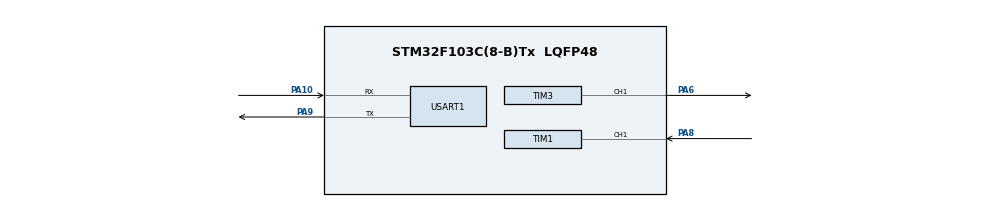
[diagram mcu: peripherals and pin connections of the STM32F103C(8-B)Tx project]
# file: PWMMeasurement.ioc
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Mcu.Family=STM32F1
Mcu.Name=STM32F103C(8-B)Tx
Mcu.Package=LQFP48
NVIC.PriorityGroup=NVIC_PRIORITYGROUP_4
PA10.Mode=Asynchronous
PA10.Signal=USART1_RX
PA13.Mode=Serial_Wire
PA13.Signal=SYS_JTMS-SWDIO
PA14.Mode=Serial_Wire
PA14.Signal=SYS_JTCK-SWCLK
PA6.Signal=S_TIM3_CH1
PA8.Signal=S_TIM1_CH1
PA9.Mode=Asynchronous
PA9.Signal=USART1_TX
ProjectManager.HeapSize=0x200
ProjectManager.StackSize=0x400
ProjectManager.TargetToolchain=MDK-ARM V5.32
RCC.APB1Freq_Value=8000000
RCC.APB2Freq_Value=8000000
SH.S_TIM1_CH1.0=TIM1_CH1,Input_Capture1_from_TI1
SH.S_TIM1_CH1.1=TIM1_CH1,TriggerSource_TI1FP1
SH.S_TIM3_CH1.0=TIM3_CH1,PWM Generation1 CH1
TIM1.AutoReloadPreload=TIM_AUTORELOAD_PRELOAD_ENABLE
TIM1.Channel-Input_Capture1_from_TI1=TIM_CHANNEL_1
TIM1.Channel-Input_Capture2_from_TI1_63=TIM_CHANNEL_2
TIM1.ICPolarity_CH2=TIM_INPUTCHANNELPOLARITY_FALLING
TIM1.Prescaler=7
TIM3.AutoReloadPreload=TIM_AUTORELOAD_PRELOAD_ENABLE
TIM3.Channel-PWM\ Generation1\ CH1=TIM_CHANNEL_1
TIM3.Period=999
TIM3.Prescaler=7
TIM3.Pulse-PWM\ Generation1\ CH1=200
USART1.VirtualMode=VM_ASYNC
VP_TIM1_VS_ClockSourceINT.Mode=Internal
VP_TIM1_VS_ControllerModeReset.Mode=Reset Mode
VP_TIM1_VS_indirect_ch1.Mode=Input_Capture2_from_TI1_63
VP_TIM3_VS_ClockSourceINT.Mode=Internal
board=custom

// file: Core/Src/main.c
/* USER CODE BEGIN Header */
/**
  ******************************************************************************
  * @file           : main.c
  * @brief          : Main program body
  ******************************************************************************
  * @attention
  *
  * Copyright (c) 2025 STMicroelectronics.
  * All rights reserved.
  *
  * This software is licensed under terms that can be found in the LICENSE file
  * in the root directory of this software component.
  * If no LICENSE file comes with this software, it is provided AS-IS.
  *
  ******************************************************************************
  */
/* USER CODE END Header */
#include "main.h"

TIM_HandleTypeDef htim1;
TIM_HandleTypeDef htim3;

UART_HandleTypeDef huart1;

void SystemClock_Config(void);
static void MX_GPIO_Init(void);
static void MX_USART1_UART_Init(void);
static void MX_TIM3_Init(void);
static void MX_TIM1_Init(void);

/* USER CODE BEGIN 0 */
#include <stdarg.h>
#include <stdio.h>
#include <string.h>

static void UART_Printf(const char *format, ...)
{
	char tmp[128];

	va_list argptr;
	va_start(argptr, format);
	vsprintf((char* )tmp, format, argptr);
	va_end(argptr);

	HAL_UART_Transmit(&huart1, (const uint8_t *)&tmp, strlen(tmp), HAL_MAX_DELAY);
}
/* USER CODE END 0 */

int main(void)
{

  /* MCU Configuration--------------------------------------------------------*/

  /* Reset of all peripherals, Initializes the Flash interface and the Systick. */
  HAL_Init();

  /* Configure the system clock */
  SystemClock_Config();

  /* Initialize all configured peripherals */
  MX_GPIO_Init();
  MX_USART1_UART_Init();
  MX_TIM3_Init();
  MX_TIM1_Init();

  /* Infinite loop */
  /* USER CODE BEGIN WHILE */
//  HAL_UART_Transmit(&huart1,(const uint8_t*)"你好世界",12,HAL_MAX_DELAY);
	HAL_TIM_PWM_Start(&htim3,TIM_CHANNEL_1);
  while (1)
  {
	  __HAL_TIM_CLEAR_FLAG(&htim1,TIM_FLAG_CC1);//清cc1标志位
	  HAL_TIM_IC_Start(&htim1,TIM_CHANNEL_1);
	  HAL_TIM_IC_Start(&htim1,TIM_CHANNEL_2);
	  //*等待cc1标志位并再次清除，测量开始，计数器启动
	  while(__HAL_TIM_GET_FLAG(&htim1,TIM_FLAG_CC1)==0)
	  __HAL_TIM_CLEAR_FLAG(&htim1,TIM_FLAG_CC1);

	  while(__HAL_TIM_GET_FLAG(&htim1,TIM_FLAG_CC1)==0)//等待

	  HAL_TIM_IC_Stop(&htim1,TIM_CHANNEL_1);
	  HAL_TIM_IC_Stop(&htim1,TIM_CHANNEL_2);

	uint16_t ccr1 = __HAL_TIM_GET_COMPARE(&htim1,TIM_CHANNEL_1);
	uint16_t ccr2 = __HAL_TIM_GET_COMPARE(&htim1,TIM_CHANNEL_2);

	float period = ccr1 *1e-6f;
	float pulseWidth =ccr2 *1e-6f;
	 float duty =pulseWidth/period;

	  UART_Printf("脉宽=%.1fus,周期=%.1fus,占空比=%.1f%%",pulseWidth*1e6f,period*1e6f,duty*100.0f);
	  HAL_Delay(500);
    /* USER CODE END WHILE */

  }
}

void SystemClock_Config(void)
{
  RCC_OscInitTypeDef RCC_OscInitStruct = {0};
  RCC_ClkInitTypeDef RCC_ClkInitStruct = {0};

  /** Initializes the RCC Oscillators according to the specified parameters
  * in the RCC_OscInitTypeDef structure.
  */
  RCC_OscInitStruct.OscillatorType = RCC_OSCILLATORTYPE_HSI;
  RCC_OscInitStruct.HSIState = RCC_HSI_ON;
  RCC_OscInitStruct.HSICalibrationValue = RCC_HSICALIBRATION_DEFAULT;
  RCC_OscInitStruct.PLL.PLLState = RCC_PLL_NONE;
  if (HAL_RCC_OscConfig(&RCC_OscInitStruct) != HAL_OK)
  {
    Error_Handler();
  }

  /** Initializes the CPU, AHB and APB buses clocks
  */
  RCC_ClkInitStruct.ClockType = RCC_CLOCKTYPE_HCLK|RCC_CLOCKTYPE_SYSCLK
                              |RCC_CLOCKTYPE_PCLK1|RCC_CLOCKTYPE_PCLK2;
  RCC_ClkInitStruct.SYSCLKSource = RCC_SYSCLKSOURCE_HSI;
  RCC_ClkInitStruct.AHBCLKDivider = RCC_SYSCLK_DIV1;
  RCC_ClkInitStruct.APB1CLKDivider = RCC_HCLK_DIV1;
  RCC_ClkInitStruct.APB2CLKDivider = RCC_HCLK_DIV1;

  if (HAL_RCC_ClockConfig(&RCC_ClkInitStruct, FLASH_LATENCY_0) != HAL_OK)
  {
    Error_Handler();
  }
}

static void MX_TIM1_Init(void)
{

  TIM_ClockConfigTypeDef sClockSourceConfig = {0};
  TIM_SlaveConfigTypeDef sSlaveConfig = {0};
  TIM_MasterConfigTypeDef sMasterConfig = {0};
  TIM_IC_InitTypeDef sConfigIC = {0};

  htim1.Instance = TIM1;
  htim1.Init.Prescaler = 7;
  htim1.Init.CounterMode = TIM_COUNTERMODE_UP;
  htim1.Init.Period = 65535;
  htim1.Init.ClockDivision = TIM_CLOCKDIVISION_DIV1;
  htim1.Init.RepetitionCounter = 0;
  htim1.Init.AutoReloadPreload = TIM_AUTORELOAD_PRELOAD_ENABLE;
  if (HAL_TIM_Base_Init(&htim1) != HAL_OK)
  {
    Error_Handler();
  }
  sClockSourceConfig.ClockSource = TIM_CLOCKSOURCE_INTERNAL;
  if (HAL_TIM_ConfigClockSource(&htim1, &sClockSourceConfig) != HAL_OK)
  {
    Error_Handler();
  }
  if (HAL_TIM_IC_Init(&htim1) != HAL_OK)
  {
    Error_Handler();
  }
  sSlaveConfig.SlaveMode = TIM_SLAVEMODE_RESET;
  sSlaveConfig.InputTrigger = TIM_TS_TI1FP1;
  sSlaveConfig.TriggerPolarity = TIM_INPUTCHANNELPOLARITY_RISING;
  sSlaveConfig.TriggerFilter = 0;
  if (HAL_TIM_SlaveConfigSynchro(&htim1, &sSlaveConfig) != HAL_OK)
  {
    Error_Handler();
  }
  sMasterConfig.MasterOutputTrigger = TIM_TRGO_RESET;
  sMasterConfig.MasterSlaveMode = TIM_MASTERSLAVEMODE_DISABLE;
  if (HAL_TIMEx_MasterConfigSynchronization(&htim1, &sMasterConfig) != HAL_OK)
  {
    Error_Handler();
  }
  sConfigIC.ICPolarity = TIM_INPUTCHANNELPOLARITY_RISING;
  sConfigIC.ICSelection = TIM_ICSELECTION_DIRECTTI;
  sConfigIC.ICPrescaler = TIM_ICPSC_DIV1;
  sConfigIC.ICFilter = 0;
  if (HAL_TIM_IC_ConfigChannel(&htim1, &sConfigIC, TIM_CHANNEL_1) != HAL_OK)
  {
    Error_Handler();
  }
  sConfigIC.ICPolarity = TIM_INPUTCHANNELPOLARITY_FALLING;
  sConfigIC.ICSelection = TIM_ICSELECTION_INDIRECTTI;
  if (HAL_TIM_IC_ConfigChannel(&htim1, &sConfigIC, TIM_CHANNEL_2) != HAL_OK)
  {
    Error_Handler();
  }

}

static void MX_TIM3_Init(void)
{

  TIM_ClockConfigTypeDef sClockSourceConfig = {0};
  TIM_MasterConfigTypeDef sMasterConfig = {0};
  TIM_OC_InitTypeDef sConfigOC = {0};

  htim3.Instance = TIM3;
  htim3.Init.Prescaler = 7;
  htim3.Init.CounterMode = TIM_COUNTERMODE_UP;
  htim3.Init.Period = 999;
  htim3.Init.ClockDivision = TIM_CLOCKDIVISION_DIV1;
  htim3.Init.AutoReloadPreload = TIM_AUTORELOAD_PRELOAD_ENABLE;
  if (HAL_TIM_Base_Init(&htim3) != HAL_OK)
  {
    Error_Handler();
  }
  sClockSourceConfig.ClockSource = TIM_CLOCKSOURCE_INTERNAL;
  if (HAL_TIM_ConfigClockSource(&htim3, &sClockSourceConfig) != HAL_OK)
  {
    Error_Handler();
  }
  if (HAL_TIM_PWM_Init(&htim3) != HAL_OK)
  {
    Error_Handler();
  }
  sMasterConfig.MasterOutputTrigger = TIM_TRGO_RESET;
  sMasterConfig.MasterSlaveMode = TIM_MASTERSLAVEMODE_DISABLE;
  if (HAL_TIMEx_MasterConfigSynchronization(&htim3, &sMasterConfig) != HAL_OK)
  {
    Error_Handler();
  }
  sConfigOC.OCMode = TIM_OCMODE_PWM1;
  sConfigOC.Pulse = 200;
  sConfigOC.OCPolarity = TIM_OCPOLARITY_HIGH;
  sConfigOC.OCFastMode = TIM_OCFAST_DISABLE;
  if (HAL_TIM_PWM_ConfigChannel(&htim3, &sConfigOC, TIM_CHANNEL_1) != HAL_OK)
  {
    Error_Handler();
  }
  HAL_TIM_MspPostInit(&htim3);

}

static void MX_USART1_UART_Init(void)
{

  huart1.Instance = USART1;
  huart1.Init.BaudRate = 115200;
  huart1.Init.WordLength = UART_WORDLENGTH_8B;
  huart1.Init.StopBits = UART_STOPBITS_1;
  huart1.Init.Parity = UART_PARITY_NONE;
  huart1.Init.Mode = UART_MODE_TX_RX;
  huart1.Init.HwFlowCtl = UART_HWCONTROL_NONE;
  huart1.Init.OverSampling = UART_OVERSAMPLING_16;
  if (HAL_UART_Init(&huart1) != HAL_OK)
  {
    Error_Handler();
  }

}

static void MX_GPIO_Init(void)
{

  /* GPIO Ports Clock Enable */
  __HAL_RCC_GPIOA_CLK_ENABLE();

}

void Error_Handler(void)
{
  __disable_irq();
  while (1)
  {
  }
}
